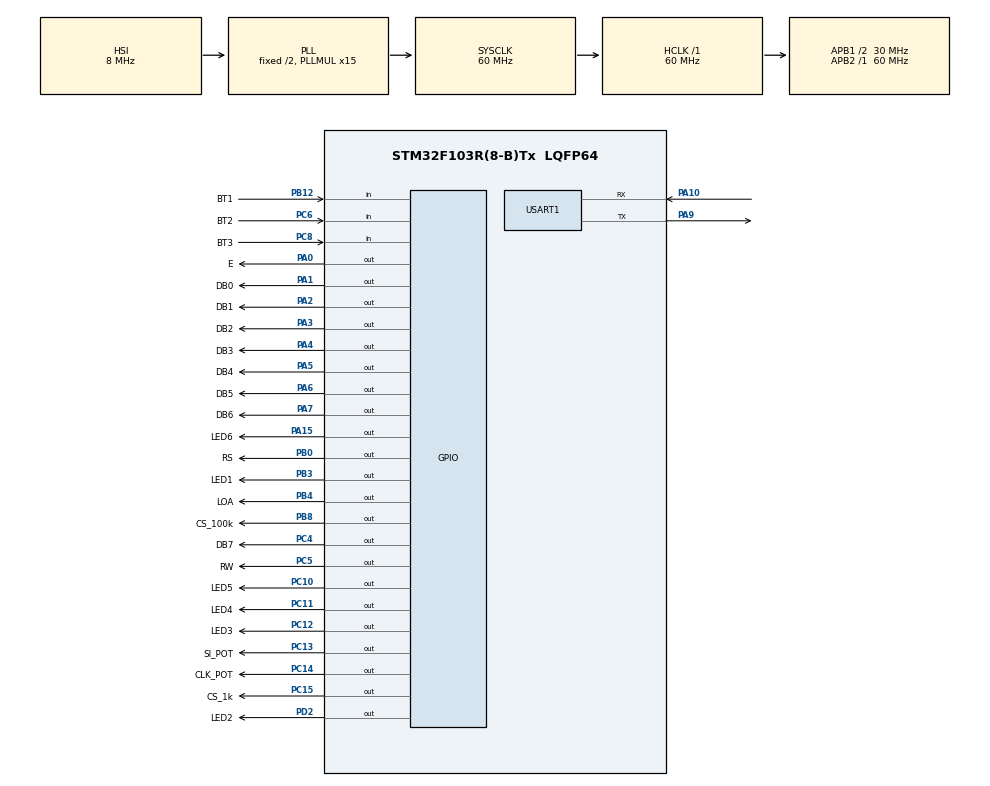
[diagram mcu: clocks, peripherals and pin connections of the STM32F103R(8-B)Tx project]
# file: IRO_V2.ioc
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Mcu.Family=STM32F1
Mcu.Name=STM32F103R(8-B)Tx
Mcu.Package=LQFP64
NVIC.PriorityGroup=NVIC_PRIORITYGROUP_4
NVIC.TIM2_IRQn=true\:0\:0\:false\:false\:true\:true
NVIC.USART1_IRQn=true\:0\:0\:false\:false\:true\:true
PA0-WKUP.GPIO_Label=E
PA0-WKUP.GPIO_ModeDefaultOutputPP=GPIO_MODE_OUTPUT_PP
PA0-WKUP.GPIO_PuPd=GPIO_NOPULL
PA0-WKUP.GPIO_Speed=GPIO_SPEED_FREQ_MEDIUM
PA0-WKUP.PinState=GPIO_PIN_SET
PA0-WKUP.Signal=GPIO_Output
PA1.GPIO_Label=DB0
PA1.GPIO_ModeDefaultOutputPP=GPIO_MODE_OUTPUT_PP
PA1.GPIO_PuPd=GPIO_NOPULL
PA1.GPIO_Speed=GPIO_SPEED_FREQ_MEDIUM
PA1.PinState=GPIO_PIN_SET
PA1.Signal=GPIO_Output
PA10.Mode=Asynchronous
PA10.Signal=USART1_RX
PA13.Mode=Serial_Wire
PA13.Signal=SYS_JTMS-SWDIO
PA14.Mode=Serial_Wire
PA14.Signal=SYS_JTCK-SWCLK
PA15.GPIO_Label=LED6
PA15.GPIO_ModeDefaultOutputPP=GPIO_MODE_OUTPUT_PP
PA15.GPIO_PuPd=GPIO_NOPULL
PA15.GPIO_Speed=GPIO_SPEED_FREQ_MEDIUM
PA15.PinState=GPIO_PIN_SET
PA15.Signal=GPIO_Output
PA2.GPIO_Label=DB1
PA2.GPIO_ModeDefaultOutputPP=GPIO_MODE_OUTPUT_PP
PA2.GPIO_PuPd=GPIO_NOPULL
PA2.GPIO_Speed=GPIO_SPEED_FREQ_MEDIUM
PA2.PinState=GPIO_PIN_SET
PA2.Signal=GPIO_Output
PA3.GPIO_Label=DB2
PA3.GPIO_ModeDefaultOutputPP=GPIO_MODE_OUTPUT_PP
PA3.GPIO_PuPd=GPIO_NOPULL
PA3.GPIO_Speed=GPIO_SPEED_FREQ_MEDIUM
PA3.PinState=GPIO_PIN_SET
PA3.Signal=GPIO_Output
PA4.GPIO_Label=DB3
PA4.GPIO_ModeDefaultOutputPP=GPIO_MODE_OUTPUT_PP
PA4.GPIO_PuPd=GPIO_NOPULL
PA4.GPIO_Speed=GPIO_SPEED_FREQ_MEDIUM
PA4.PinState=GPIO_PIN_SET
PA4.Signal=GPIO_Output
PA5.GPIO_Label=DB4
PA5.GPIO_ModeDefaultOutputPP=GPIO_MODE_OUTPUT_PP
PA5.GPIO_PuPd=GPIO_NOPULL
PA5.GPIO_Speed=GPIO_SPEED_FREQ_MEDIUM
PA5.PinState=GPIO_PIN_SET
PA5.Signal=GPIO_Output
PA6.GPIO_Label=DB5
PA6.GPIO_ModeDefaultOutputPP=GPIO_MODE_OUTPUT_PP
PA6.GPIO_PuPd=GPIO_NOPULL
PA6.GPIO_Speed=GPIO_SPEED_FREQ_MEDIUM
PA6.PinState=GPIO_PIN_SET
PA6.Signal=GPIO_Output
PA7.GPIO_Label=DB6
PA7.GPIO_ModeDefaultOutputPP=GPIO_MODE_OUTPUT_PP
PA7.GPIO_PuPd=GPIO_NOPULL
PA7.GPIO_Speed=GPIO_SPEED_FREQ_MEDIUM
PA7.PinState=GPIO_PIN_SET
PA7.Signal=GPIO_Output
PA9.Mode=Asynchronous
PA9.Signal=USART1_TX
PB0.GPIO_Label=RS
PB0.GPIO_ModeDefaultOutputPP=GPIO_MODE_OUTPUT_PP
PB0.GPIO_PuPd=GPIO_NOPULL
PB0.GPIO_Speed=GPIO_SPEED_FREQ_MEDIUM
PB0.PinState=GPIO_PIN_SET
PB0.Signal=GPIO_Output
PB12.GPIO_Label=BT1
PB12.GPIO_PuPd=GPIO_PULLUP
PB12.Signal=GPIO_Input
PB3.GPIO_Label=LED1
PB3.GPIO_ModeDefaultOutputPP=GPIO_MODE_OUTPUT_PP
PB3.GPIO_PuPd=GPIO_NOPULL
PB3.GPIO_Speed=GPIO_SPEED_FREQ_MEDIUM
PB3.PinState=GPIO_PIN_SET
PB3.Signal=GPIO_Output
PB4.GPIO_Label=LOA
PB4.GPIO_ModeDefaultOutputPP=GPIO_MODE_OUTPUT_PP
PB4.GPIO_PuPd=GPIO_NOPULL
PB4.GPIO_Speed=GPIO_SPEED_FREQ_MEDIUM
PB4.PinState=GPIO_PIN_RESET
PB4.Signal=GPIO_Output
PB8.GPIO_Label=CS_100k
PB8.GPIO_Speed=GPIO_SPEED_FREQ_MEDIUM
PB8.PinState=GPIO_PIN_SET
PB8.Signal=GPIO_Output
PC10.GPIO_Label=LED5
PC10.GPIO_ModeDefaultOutputPP=GPIO_MODE_OUTPUT_PP
PC10.GPIO_PuPd=GPIO_NOPULL
PC10.GPIO_Speed=GPIO_SPEED_FREQ_MEDIUM
PC10.PinState=GPIO_PIN_SET
PC10.Signal=GPIO_Output
PC11.GPIO_Label=LED4
PC11.GPIO_ModeDefaultOutputPP=GPIO_MODE_OUTPUT_PP
PC11.GPIO_PuPd=GPIO_NOPULL
PC11.GPIO_Speed=GPIO_SPEED_FREQ_MEDIUM
PC11.PinState=GPIO_PIN_SET
PC11.Signal=GPIO_Output
PC12.GPIO_Label=LED3
PC12.GPIO_ModeDefaultOutputPP=GPIO_MODE_OUTPUT_PP
PC12.GPIO_PuPd=GPIO_NOPULL
PC12.GPIO_Speed=GPIO_SPEED_FREQ_MEDIUM
PC12.PinState=GPIO_PIN_SET
PC12.Signal=GPIO_Output
PC13-TAMPER-RTC.GPIO_Label=SI_POT
PC13-TAMPER-RTC.GPIO_ModeDefaultOutputPP=GPIO_MODE_OUTPUT_PP
PC13-TAMPER-RTC.GPIO_PuPd=GPIO_NOPULL
PC13-TAMPER-RTC.GPIO_Speed=GPIO_SPEED_FREQ_MEDIUM
PC13-TAMPER-RTC.PinState=GPIO_PIN_SET
PC13-TAMPER-RTC.Signal=GPIO_Output
PC14-OSC32_IN.GPIO_Label=CLK_POT
PC14-OSC32_IN.GPIO_ModeDefaultOutputPP=GPIO_MODE_OUTPUT_PP
PC14-OSC32_IN.GPIO_PuPd=GPIO_NOPULL
PC14-OSC32_IN.GPIO_Speed=GPIO_SPEED_FREQ_MEDIUM
PC14-OSC32_IN.PinState=GPIO_PIN_SET
PC14-OSC32_IN.Signal=GPIO_Output
PC15-OSC32_OUT.GPIO_Label=CS_1k
PC15-OSC32_OUT.GPIO_ModeDefaultOutputPP=GPIO_MODE_OUTPUT_PP
PC15-OSC32_OUT.GPIO_PuPd=GPIO_NOPULL
PC15-OSC32_OUT.GPIO_Speed=GPIO_SPEED_FREQ_MEDIUM
PC15-OSC32_OUT.PinState=GPIO_PIN_SET
PC15-OSC32_OUT.Signal=GPIO_Output
PC4.GPIO_Label=DB7
PC4.GPIO_ModeDefaultOutputPP=GPIO_MODE_OUTPUT_PP
PC4.GPIO_PuPd=GPIO_NOPULL
PC4.GPIO_Speed=GPIO_SPEED_FREQ_MEDIUM
PC4.PinState=GPIO_PIN_SET
PC4.Signal=GPIO_Output
PC5.GPIO_Label=RW
PC5.GPIO_ModeDefaultOutputPP=GPIO_MODE_OUTPUT_PP
PC5.GPIO_PuPd=GPIO_NOPULL
PC5.GPIO_Speed=GPIO_SPEED_FREQ_MEDIUM
PC5.PinState=GPIO_PIN_SET
PC5.Signal=GPIO_Output
PC6.GPIO_Label=BT2
PC6.GPIO_PuPd=GPIO_PULLUP
PC6.Signal=GPIO_Input
PC8.GPIO_Label=BT3
PC8.GPIO_PuPd=GPIO_PULLUP
PC8.Signal=GPIO_Input
PD2.GPIO_Label=LED2
PD2.GPIO_ModeDefaultOutputPP=GPIO_MODE_OUTPUT_PP
PD2.GPIO_PuPd=GPIO_NOPULL
PD2.GPIO_Speed=GPIO_SPEED_FREQ_MEDIUM
PD2.PinState=GPIO_PIN_SET
PD2.Signal=GPIO_Output
ProjectManager.HeapSize=0x200
ProjectManager.StackSize=0x400
ProjectManager.TargetToolchain=MDK-ARM V5
RCC.AHBFreq_Value=60000000
RCC.APB1CLKDivider=RCC_HCLK_DIV2
RCC.APB1Freq_Value=30000000
RCC.APB1TimFreq_Value=60000000
RCC.APB2Freq_Value=60000000
RCC.APB2TimFreq_Value=60000000
RCC.HCLKFreq_Value=60000000
RCC.PLLMUL=RCC_PLL_MUL15
RCC.SYSCLKFreq_VALUE=60000000
RCC.SYSCLKSource=RCC_SYSCLKSOURCE_PLLCLK
RCC.USBFreq_Value=60000000
TIM2.AutoReloadPreload=TIM_AUTORELOAD_PRELOAD_ENABLE
TIM2.Period=999
TIM2.Prescaler=60
USART1.VirtualMode=VM_ASYNC
VP_TIM2_VS_ClockSourceINT.Mode=Internal
board=custom

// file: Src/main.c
/**
  ******************************************************************************
  * @file           : main.c
  * @brief          : Main program body
  ******************************************************************************
  ** This notice applies to any and all portions of this file
  * that are not between comment pairs USER CODE BEGIN and
  * USER CODE END. Other portions of this file, whether
  * inserted by the user or by software development tools
  * are owned by their respective copyright owners.
  *
  * COPYRIGHT(c) 2018 STMicroelectronics
  *
  * Redistribution and use in source and binary forms, with or without modification,
  * are permitted provided that the following conditions are met:
  *   1. Redistributions of source code must retain the above copyright notice,
  *      this list of conditions and the following disclaimer.
  *   2. Redistributions in binary form must reproduce the above copyright notice,
  *      this list of conditions and the following disclaimer in the documentation
  *      and/or other materials provided with the distribution.
  *   3. Neither the name of STMicroelectronics nor the names of its contributors
  *      may be used to endorse or promote products derived from this software
  *      without specific prior written permission.
  *
  * THIS SOFTWARE IS PROVIDED BY THE COPYRIGHT HOLDERS AND CONTRIBUTORS "AS IS"
  * AND ANY EXPRESS OR IMPLIED WARRANTIES, INCLUDING, BUT NOT LIMITED TO, THE
  * IMPLIED WARRANTIES OF MERCHANTABILITY AND FITNESS FOR A PARTICULAR PURPOSE ARE
  * DISCLAIMED. IN NO EVENT SHALL THE COPYRIGHT HOLDER OR CONTRIBUTORS BE LIABLE
  * FOR ANY DIRECT, INDIRECT, INCIDENTAL, SPECIAL, EXEMPLARY, OR CONSEQUENTIAL
  * DAMAGES (INCLUDING, BUT NOT LIMITED TO, PROCUREMENT OF SUBSTITUTE GOODS OR
  * SERVICES; LOSS OF USE, DATA, OR PROFITS; OR BUSINESS INTERRUPTION) HOWEVER
  * CAUSED AND ON ANY THEORY OF LIABILITY, WHETHER IN CONTRACT, STRICT LIABILITY,
  * OR TORT (INCLUDING NEGLIGENCE OR OTHERWISE) ARISING IN ANY WAY OUT OF THE USE
  * OF THIS SOFTWARE, EVEN IF ADVISED OF THE POSSIBILITY OF SUCH DAMAGE.
  *
  ******************************************************************************
  */
#include "main.h"
#include "stm32f1xx_hal.h"
#include "tim.h"
#include "usart.h"
#include "gpio.h"

/* USER CODE BEGIN Includes */
#include "DEFINE.h"
#include "AD8402.h"
#include "dataProcess.h"
#include "flash.h"
#include <stdlib.h>
/* USER CODE END Includes */

/* USER CODE BEGIN PV */
/* Private variables ---------------------------------------------------------*/
AD8402 TDS[2];  // TDS_IN:0, TDS_OUT:1
RX_buffer rxBuffer_t;
RX_TYPE rxAdcTable[2], rxTdsTable[2], rxDebug_t;  // IN:0, OUT:1
TEMP_VALUE temp100k_t[2], temp1k_t[2];			  // IN:0, OUT:1

uint8_t flag_debug_done = 0;
uint8_t flag_adc_done = 0;
uint8_t flag_tds_done = 0;
uint8_t flag_mode;
int16_t arrSkip[4];
int16_t arrCompare[2][25];
uint8_t pos;

/* USER CODE END PV */

void SystemClock_Config(void);

/* USER CODE BEGIN PFP */
/* Private function prototypes -----------------------------------------------*/

/* USER CODE END PFP */

/* USER CODE BEGIN 0 */

/*
 * Ham nay chinh tho: chinh dien tro 100k tra ve 2 gia tri o 2 ben gia tri value: vTrai > value, vPhai < value
 */

void dieuChinh_100k(AD8402 *pAD, int16_t value[], TEMP_VALUE *pTemp100k)
{
	uint8_t stopIn = OFF, stopOut = OFF;
	// IN_CHANNEL
	int16_t *value100k_IN = &(pAD[IN_CHANNEL].value_100k);
	if((*value100k_IN) < DATA_MIN)  (*value100k_IN) = DATA_MIN;
	else if((*value100k_IN) > DATA_MAX)  (*value100k_IN) = DATA_MAX;

	int16_t *vTrai_IN = &(pTemp100k[IN_CHANNEL].vADC_Trai);
	int16_t *vPhai_IN = &(pTemp100k[IN_CHANNEL].vADC_Phai);
	int16_t *dataTrai_IN = &(pTemp100k[IN_CHANNEL].dataTrai);
	int16_t *dataPhai_IN = &(pTemp100k[IN_CHANNEL].dataPhai);
	// OUT_CHANNEL
	int16_t *value100k_OUT = &(pAD[OUT_CHANNEL].value_100k);
	if((*value100k_OUT) < DATA_MIN)  (*value100k_OUT) = DATA_MIN;
	else if((*value100k_OUT) > DATA_MAX)  (*value100k_OUT) = DATA_MAX;

	int16_t *vTrai_OUT = &(pTemp100k[OUT_CHANNEL].vADC_Trai);
	int16_t *vPhai_OUT = &(pTemp100k[OUT_CHANNEL].vADC_Phai);
	int16_t *dataTrai_OUT = &(pTemp100k[OUT_CHANNEL].dataTrai);
	int16_t *dataPhai_OUT = &(pTemp100k[OUT_CHANNEL].dataPhai);

	AD8402_writeData(_1k, IN_CHANNEL, DATA_MAX); // ghi gia tri max cho 1k kenh IN
	AD8402_writeData(_1k, OUT_CHANNEL, DATA_MAX); // ghi gia tri max cho 1k kenh OUT
	for((*value100k_IN) = (*value100k_IN), (*value100k_OUT) = (*value100k_OUT);;)
	{
		if(((*value100k_IN) >= DATA_MIN) || ((*value100k_OUT) >= DATA_MIN))
		{
			if((stopIn == OFF)  && ((*value100k_IN) >= DATA_MIN))  AD8402_writeData(_100k, IN_CHANNEL, (uint8_t)(*value100k_IN));
			if((stopOut == OFF) && ((*value100k_OUT) >= DATA_MIN)) AD8402_writeData(_100k, OUT_CHANNEL, (uint8_t)(*value100k_OUT));
			HAL_Delay(100);
			DATAPROCESS_getDebugValue();

			if((stopIn == OFF) && ((*value100k_IN) >= DATA_MIN))
			{
				if(rxDebug_t.value[IN_CHANNEL] > value[IN_CHANNEL])    // gia tri trai
				{
					*dataTrai_IN = (*value100k_IN);				   // luu lai gia tri ben trai, luu lai du lieu ghi cho 100k ben trai value
					*vTrai_IN = rxDebug_t.value[IN_CHANNEL];  // luu gia tri ADC ben trai
					(*value100k_IN)--;
				}

				else		// gia tri phai
				{
					*dataPhai_IN = (*value100k_IN);
					*vPhai_IN = rxDebug_t.value[IN_CHANNEL];
					AD8402_writeData(_100k, IN_CHANNEL, (uint8_t)(*dataTrai_IN)); // ghi lai gia tri ben trai
					stopIn = ON;
				}
			}

			if((stopOut == OFF) && ((*value100k_OUT) >= DATA_MIN))
			{
				if(rxDebug_t.value[OUT_CHANNEL] > value[OUT_CHANNEL])    // gia tri trai
				{
					*dataTrai_OUT = (*value100k_OUT);				   // luu lai gia tri ben trai, luu lai du lieu ghi cho 100k ben trai value
					*vTrai_OUT = rxDebug_t.value[OUT_CHANNEL];  // luu gia tri ADC ben trai
					(*value100k_OUT)--;
				}

				else		// gia tri phai
				{
					*dataPhai_OUT = (*value100k_OUT);
					*vPhai_OUT = rxDebug_t.value[OUT_CHANNEL];
					AD8402_writeData(_100k, OUT_CHANNEL, (uint8_t)(*dataTrai_OUT)); // ghi lai gia tri ben trai
					stopOut = ON;
				}
			}

			if((stopIn == ON) && (stopOut == ON)) break;
		}
	}
}

void dieuChinh_1k(AD8402 *pAD, int16_t value[],  TEMP_VALUE *pTemp100k)
{
	uint8_t stopIn= OFF, stopOut = OFF;
	uint8_t *arrValue100k_IN = pAD[IN_CHANNEL].arrValue_100k;  // luu byte du lieu cho 100k
	uint8_t *arrValue1k_IN   = pAD[IN_CHANNEL].arrValue_1k;	 // luu byte du lieu cho 1k
	int16_t *value1k_IN = &(pAD[IN_CHANNEL].value_1k);
	int16_t *value100k_IN = &(pAD[IN_CHANNEL].value_100k);
	//uint8_t pos = pAD[IN_CHANNEL].pos;
	int16_t vPhai_IN = pTemp100k[IN_CHANNEL].vADC_Phai;
	int16_t dataTrai_IN = pTemp100k[IN_CHANNEL].dataTrai;
	int16_t temp1, temp2;

	uint8_t *arrValue100k_OUT = pAD[OUT_CHANNEL].arrValue_100k;  // luu byte du lieu cho 100k
	uint8_t *arrValue1k_OUT   = pAD[OUT_CHANNEL].arrValue_1k;	 // luu byte du lieu cho 1k
	int16_t *value1k_OUT = &(pAD[OUT_CHANNEL].value_1k);
	int16_t *value100k_OUT = &(pAD[OUT_CHANNEL].value_100k);
	int16_t vPhai_OUT = pTemp100k[OUT_CHANNEL].vADC_Phai;
	int16_t dataTrai_OUT = pTemp100k[OUT_CHANNEL].dataTrai;
	int16_t temp3, temp4;

	for(*value1k_IN = DATA_MAX, *value1k_OUT = DATA_MAX;;)
	{
		AD8402_writeData(_1k, IN_CHANNEL, (uint8_t)(*value1k_IN));
		AD8402_writeData(_1k, OUT_CHANNEL, (uint8_t)(*value1k_OUT));
		HAL_Delay(100);
		DATAPROCESS_getDebugValue();
		if((*value100k_IN) >= DATA_MIN || (*value100k_OUT) >= DATA_MIN)
		{
			if(stopIn == OFF && (*value100k_IN) >= DATA_MIN)
			{
				if((rxDebug_t.value[IN_CHANNEL] > value[IN_CHANNEL]))  // gia tri ben trai value
				{
					temp1 = rxDebug_t.value[IN_CHANNEL];
					temp2 = *value1k_IN;
					(*value100k_IN)--;
				}

				else
				{
					if((temp1 - value[IN_CHANNEL]) < (value[IN_CHANNEL] - rxDebug_t.value[IN_CHANNEL]))
					{
						arrValue100k_IN[pos] = dataTrai_IN;
						arrValue1k_IN[pos] = temp2;
						arrCompare[IN_CHANNEL][pos] = temp1;
					}

					else
					{
						arrValue100k_IN[pos] = dataTrai_IN;
						arrValue1k_IN[pos] = *value1k_IN;
						arrCompare[IN_CHANNEL][pos] = rxDebug_t.value[IN_CHANNEL];
						stopIn = ON;
					}
				}
			}

			if(stopOut == OFF && (*value100k_OUT) >= DATA_MIN)
			{
				if((rxDebug_t.value[OUT_CHANNEL] > value[OUT_CHANNEL]))  // gia tri ben trai value
				{
					temp3 = rxDebug_t.value[OUT_CHANNEL];
					temp4 = *value1k_OUT;
					(*value1k_OUT)--;
				}

				else
				{
					if((temp3 - value[OUT_CHANNEL]) < (value[OUT_CHANNEL] - rxDebug_t.value[OUT_CHANNEL]))
					{
						arrValue100k_OUT[pos] = dataTrai_OUT;
						arrValue1k_OUT[pos] = temp4;
						arrCompare[OUT_CHANNEL][pos] = temp3;
					}

					else
					{
						arrValue100k_OUT[pos] = dataTrai_OUT;
						arrValue1k_OUT[pos] = *value1k_OUT;
						arrCompare[OUT_CHANNEL][pos] = rxDebug_t.value[OUT_CHANNEL];
						stopOut = ON;
					}
				}
			}
		}

		if(stopIn == ON && stopOut == ON) break;
	}
	// Neu gia tri ben phai khi dieu chinh 100k nho hon gia tri can dieu chinh tiep theo
	// thi gia tri dieu chinh lan tiep theo phai tu gia tri ben trai
	if(vPhai_IN < rxAdcTable[IN_CHANNEL].value[pos+1])
	{
		AD8402_writeData(_100k, IN_CHANNEL, (uint8_t)dataTrai_IN); // ghi lai gia tri ben trai
		*value1k_IN = dataTrai_IN;
	}

	if(vPhai_OUT < rxAdcTable[OUT_CHANNEL].value[pos+1])
	{
		AD8402_writeData(_100k, OUT_CHANNEL, (uint8_t)dataTrai_OUT); // ghi lai gia tri ben trai
		*value1k_OUT = dataTrai_OUT;
	}
}

/* USER CODE END 0 */

int main(void)
{

  /* MCU Configuration----------------------------------------------------------*/

  /* Reset of all peripherals, Initializes the Flash interface and the Systick. */
  HAL_Init();

  /* USER CODE BEGIN Init */
  int16_t value[2];
  /* USER CODE END Init */

  /* Configure the system clock */
  SystemClock_Config();

  /* Initialize all configured peripherals */
  MX_GPIO_Init();
  MX_TIM2_Init();
  MX_USART1_UART_Init();
  /* USER CODE BEGIN 2 */

	TDS[IN_CHANNEL].value_100k = DATA_MAX;
	TDS[IN_CHANNEL].value_1k = DATA_MAX;
	TDS[OUT_CHANNEL].value_100k = DATA_MAX;
	TDS[OUT_CHANNEL].value_1k = DATA_MAX;
	/* set gia tri max de gia tri ADC la max */
	AD8402_writeData(_100k, IN_CHANNEL, TDS[IN_CHANNEL].value_100k);
	AD8402_writeData(_1k, IN_CHANNEL, TDS[IN_CHANNEL].value_1k);
	AD8402_writeData(_100k, OUT_CHANNEL, TDS[OUT_CHANNEL].value_100k);
	AD8402_writeData(_1k, OUT_CHANNEL, TDS[OUT_CHANNEL].value_1k);

	HAL_Delay(10);
	DATAPROCESS_getAdcTable();
	DATAPROCESS_getTdsTable();
	DATAPROCESS_skipAckDebug();

  /* USER CODE END 2 */

  /* Infinite loop */
  while (1)
  {

  /* USER CODE BEGIN 3 */
  // bo qua 2 gia tri dau de cho du lieu on dinh
		for(uint8_t i = 0; i < 2; i++)
		{
			DATAPROCESS_getDebugValue();
			arrSkip[i] = rxDebug_t.value[IN_CHANNEL];
			arrSkip[i+2] = rxDebug_t.value[OUT_CHANNEL];
		}

  	for(pos = 2; pos < rxAdcTable[IN_CHANNEL].countVT; pos++)
		{
			value[IN_CHANNEL] =  rxAdcTable[IN_CHANNEL].value[pos];
  		    value[OUT_CHANNEL] = rxAdcTable[OUT_CHANNEL].value[pos];
			if(rxDebug_t.value[IN_CHANNEL] > rxAdcTable[IN_CHANNEL].value[pos] && rxDebug_t.value[OUT_CHANNEL] > rxAdcTable[OUT_CHANNEL].value[pos])
			{
				dieuChinh_100k(TDS, value, temp100k_t);
				dieuChinh_1k(TDS, value, temp100k_t);
			}
		}

		FLASH_writeParams();

		while(1)
		{
			HAL_GPIO_TogglePin(LED1_GPIO_Port, LED1_Pin);
			HAL_Delay(1000);
		}
  }
  /* USER CODE END 3 */
}

void SystemClock_Config(void)
{

  RCC_OscInitTypeDef RCC_OscInitStruct;
  RCC_ClkInitTypeDef RCC_ClkInitStruct;

    /**Initializes the CPU, AHB and APB busses clocks
    */
  RCC_OscInitStruct.OscillatorType = RCC_OSCILLATORTYPE_HSI;
  RCC_OscInitStruct.HSIState = RCC_HSI_ON;
  RCC_OscInitStruct.HSICalibrationValue = 16;
  RCC_OscInitStruct.PLL.PLLState = RCC_PLL_ON;
  RCC_OscInitStruct.PLL.PLLSource = RCC_PLLSOURCE_HSI_DIV2;
  RCC_OscInitStruct.PLL.PLLMUL = RCC_PLL_MUL15;
  if (HAL_RCC_OscConfig(&RCC_OscInitStruct) != HAL_OK)
  {
    _Error_Handler(__FILE__, __LINE__);
  }

    /**Initializes the CPU, AHB and APB busses clocks
    */
  RCC_ClkInitStruct.ClockType = RCC_CLOCKTYPE_HCLK|RCC_CLOCKTYPE_SYSCLK
                              |RCC_CLOCKTYPE_PCLK1|RCC_CLOCKTYPE_PCLK2;
  RCC_ClkInitStruct.SYSCLKSource = RCC_SYSCLKSOURCE_PLLCLK;
  RCC_ClkInitStruct.AHBCLKDivider = RCC_SYSCLK_DIV1;
  RCC_ClkInitStruct.APB1CLKDivider = RCC_HCLK_DIV2;
  RCC_ClkInitStruct.APB2CLKDivider = RCC_HCLK_DIV1;

  if (HAL_RCC_ClockConfig(&RCC_ClkInitStruct, FLASH_LATENCY_2) != HAL_OK)
  {
    _Error_Handler(__FILE__, __LINE__);
  }

    /**Configure the Systick interrupt time
    */
  HAL_SYSTICK_Config(HAL_RCC_GetHCLKFreq()/1000);

    /**Configure the Systick
    */
  HAL_SYSTICK_CLKSourceConfig(SYSTICK_CLKSOURCE_HCLK);

  /* SysTick_IRQn interrupt configuration */
  HAL_NVIC_SetPriority(SysTick_IRQn, 0, 0);
}

void _Error_Handler(char *file, int line)
{
  while(1)
  {
  }
}

/************************ (C) COPYRIGHT STMicroelectronics *****END OF FILE****/
